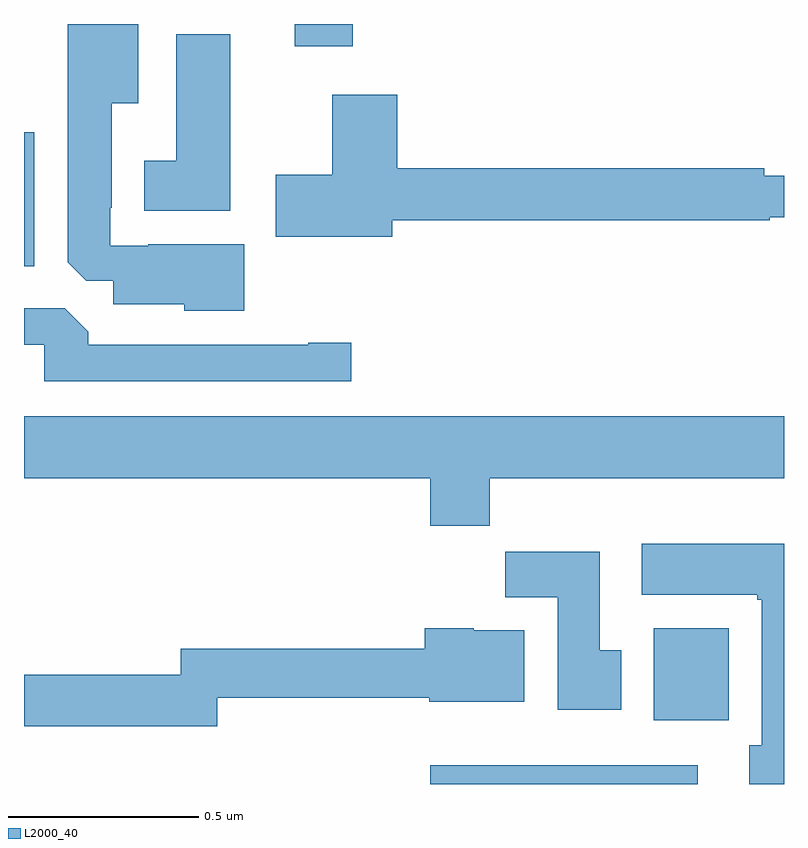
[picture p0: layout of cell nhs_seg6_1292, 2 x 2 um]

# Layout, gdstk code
import gdstk
lib = gdstk.Library(unit=1e-6, precision=1e-09)
def R(c, l, rs):  # rectangles x0, y0, x1, y1
    for r in rs: c.add(gdstk.rectangle(r[:2], r[2:], *l))
def P(c, l, *ps):  # polygons
    for p in ps: c.add(gdstk.Polygon(p, *l))
L2000_40 = (2000, 40)

nhs_seg6_1292 = lib.new_cell('nhs_seg6_1292')
R(nhs_seg6_1292, L2000_40, [(128.069,978.5,128.773,978.55), (128.657,978.668,128.854,978.91), (127,979.862,127.027,980.215), (127.712,980.442,127.865,980.5)])
P(nhs_seg6_1292, L2000_40, [(127.579,979.921),(127.327,979.921),(127.327,979.917),(127.227,979.917),(127.227,980.017),(127.231,980.017),(127.231,980.291),(127.3,980.291),(127.3,980.5),(127.115,980.5),(127.115,979.873),(127.164,979.824),(127.235,979.824),(127.235,979.763),(127.422,979.763),(127.422,979.745),(127.579,979.745)],
  [(127.543,980.473),(127.4,980.473),(127.4,980.14),(127.316,980.14),(127.316,980.009),(127.543,980.009)],
  [(127.969,979.984),(128.962,979.984),(128.962,979.992),(129,979.992),(129,980.101),(128.948,980.101),(128.948,980.12),(127.982,980.12),(127.982,980.314),(127.811,980.314),(127.811,980.103),(127.662,980.103),(127.662,979.94),(127.969,979.94)],
  [(127.861,979.661),(127.748,979.661),(127.748,979.656),(127.169,979.656),(127.169,979.69),(127.107,979.752),(127,979.752),(127,979.656),(127.053,979.656),(127.053,979.56),(127.861,979.56)],
  [(128.225,979.304),(129,979.304),(129,979.468),(127,979.468),(127,979.304),(128.069,979.304),(128.069,979.18),(128.225,979.18)],
  [(129,979.132),(128.625,979.132),(128.625,978.998),(128.929,978.998),(128.929,978.985),(128.942,978.985),(128.942,978.602),(128.909,978.602),(128.909,978.5),(129,978.5)],
  [(128.572,978.852),(128.515,978.852),(128.515,979.111),(128.266,979.111),(128.266,978.992),(128.405,978.992),(128.405,978.696),(128.572,978.696)],
  [(127.509,978.727),(128.066,978.727),(128.066,978.716),(128.317,978.716),(128.317,978.904),(128.184,978.904),(128.184,978.91),(128.054,978.91),(128.054,978.856),(127.413,978.856),(127.413,978.788),(127,978.788),(127,978.652),(127.509,978.652)])

lib.write_gds('nhs_seg6_1292.gds')
